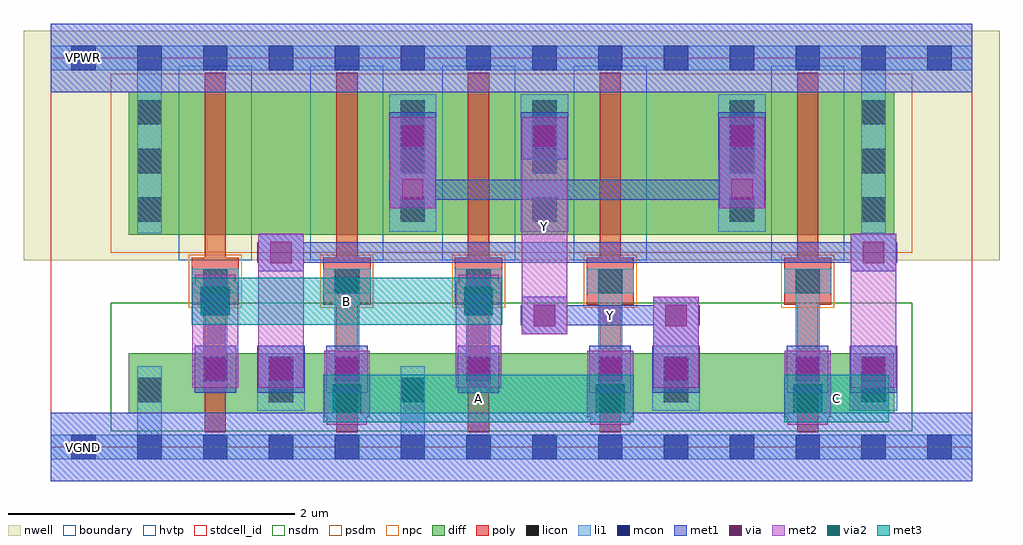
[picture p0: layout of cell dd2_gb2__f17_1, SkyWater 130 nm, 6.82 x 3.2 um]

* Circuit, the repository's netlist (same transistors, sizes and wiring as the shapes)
* Generated reference circuit; dimensions in micrometers.
.subckt dd2_gb2__f17_1 A B C VGND VNB VPB VPWR Y
XM0 Y A _net1 VNB sky130_fd_pr__nfet_01v8 w=0.420 l=0.150
XM1 _net1 B VGND VNB sky130_fd_pr__nfet_01v8 w=0.420 l=0.150
XM2 Y C _net2 VNB sky130_fd_pr__nfet_01v8 w=0.420 l=0.150
XM3 _net2 A VGND VNB sky130_fd_pr__nfet_01v8 w=0.420 l=0.150
XM4 _net2 B VGND VNB sky130_fd_pr__nfet_01v8 w=0.420 l=0.150
XM5 Y A _net3 VPB sky130_fd_pr__pfet_01v8_hvt w=1.000 l=0.150
XM6 Y B _net3 VPB sky130_fd_pr__pfet_01v8_hvt w=1.000 l=0.150
XM7 _net3 C VPWR VPB sky130_fd_pr__pfet_01v8_hvt w=1.000 l=0.150
XM8 _net3 A _net4 VPB sky130_fd_pr__pfet_01v8_hvt w=1.000 l=0.150
XM9 _net4 B VPWR VPB sky130_fd_pr__pfet_01v8_hvt w=1.000 l=0.150
.ends dd2_gb2__f17_1

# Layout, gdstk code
import gdstk
lib = gdstk.Library(unit=1e-6, precision=1e-09)
def R(c, l, rs):  # rectangles x0, y0, x1, y1
    for r in rs: c.add(gdstk.rectangle(r[:2], r[2:], *l))
def A(c, l, x, y, w, h, nx, ny, dx, dy):  # array of equal rectangles
    R(c, l, [(x+i*dx, y+j*dy, x+i*dx+w, y+j*dy+h) for i in range(nx) for j in range(ny)])
nwell = (64, 20)
diff = (65, 20)
poly = (66, 20)
licon = (66, 44)
li1 = (67, 20)
mcon = (67, 44)
met1 = (68, 20)
via = (68, 44)
met2 = (69, 20)
via2 = (69, 44)
met3 = (70, 20)
hvtp = (78, 44)
stdcell_id = (81, 4)
nsdm = (93, 44)
psdm = (94, 20)
npc = (95, 20)
boundary = (235, 4)

dd2_gb2__f17_1 = lib.new_cell('dd2_gb2__f17_1')
R(dd2_gb2__f17_1, nwell, [(-0.19,1.305,6.63,2.91)])
R(dd2_gb2__f17_1, diff, [(0.545,0.235,1.61,0.655), (1.61,0.235,2.53,0.655), (2.53,0.235,3.22,0.655), (3.22,0.235,4.37,0.655), (4.37,0.235,5.895,0.655), (0.545,1.485,1.61,2.485), (1.61,1.485,2.53,2.485), (2.53,1.485,3.45,2.485), (3.45,1.485,4.83,2.485), (4.83,1.485,5.895,2.485)])
A(dd2_gb2__f17_1, poly, 1.075, 0.105, 0.15, 1.22, 4, 1, 0.92, 0)
A(dd2_gb2__f17_1, poly, 0.985, 0.995, 0.33, 0.33, 4, 1, 0.92, 0)
A(dd2_gb2__f17_1, poly, 1.075, 0.995, 0.15, 1.62, 4, 1, 0.92, 0)
R(dd2_gb2__f17_1, poly, [(5.215,0.105,5.365,1.325), (5.125,0.995,5.455,1.325), (5.215,0.995,5.365,2.615)])
A(dd2_gb2__f17_1, licon, 0.605, 0.315, 0.17, 0.17, 3, 1, 0.92, 0)
A(dd2_gb2__f17_1, licon, 1.065, 1.075, 0.17, 0.17, 4, 1, 0.92, 0)
A(dd2_gb2__f17_1, licon, 0.605, 1.575, 0.17, 0.17, 1, 3, 0, 0.34)
A(dd2_gb2__f17_1, licon, 2.445, 1.575, 0.17, 0.17, 1, 3, 0, 0.34)
A(dd2_gb2__f17_1, licon, 3.365, 1.575, 0.17, 0.17, 1, 3, 0, 0.34)
A(dd2_gb2__f17_1, licon, 4.745, 1.575, 0.17, 0.17, 1, 3, 0, 0.34)
A(dd2_gb2__f17_1, licon, 5.665, 1.575, 0.17, 0.17, 1, 3, 0, 0.34)
R(dd2_gb2__f17_1, licon, [(4.285,0.315,4.455,0.485), (5.665,0.315,5.835,0.485), (5.205,1.075,5.375,1.245)])
A(dd2_gb2__f17_1, li1, 1.065, 0.38, 0.17, 0.33, 4, 1, 0.92, 0)
A(dd2_gb2__f17_1, li1, 1.065, 0.46, 0.17, 0.785, 4, 1, 0.92, 0)
A(dd2_gb2__f17_1, li1, 0.985, 1.075, 0.33, 0.17, 4, 1, 0.92, 0)
R(dd2_gb2__f17_1, li1, [(0,-0.085,6.44,0.085), (0.605,-0.085,0.775,0.565), (2.445,-0.085,2.615,0.565), (1.445,0.255,1.775,0.635), (4.205,0.255,4.535,0.635), (5.585,0.255,5.915,0.635), (1.445,0.38,1.775,0.71), (4.205,0.38,4.535,0.71), (5.205,0.38,5.375,0.71), (5.585,0.38,5.915,0.71), (5.205,0.46,5.375,1.245), (5.125,1.075,5.455,1.245), (0.605,1.495,0.775,2.805), (5.665,1.495,5.835,2.805), (2.365,1.505,2.695,2.465), (3.285,1.505,3.615,2.465), (4.665,1.505,4.995,2.465), (2.365,2.01,2.695,2.34), (3.285,2.01,3.615,2.34), (4.665,2.01,4.995,2.34), (0,2.635,6.44,2.805)])
A(dd2_gb2__f17_1, mcon, 0.145, -0.085, 0.17, 0.17, 14, 2, 0.46, 2.72)
A(dd2_gb2__f17_1, mcon, 1.065, 0.46, 0.17, 0.17, 3, 1, 0.46, 0)
R(dd2_gb2__f17_1, mcon, [(2.905,0.46,3.075,0.63), (3.825,0.46,3.995,0.63), (4.285,0.46,4.455,0.63), (5.205,0.46,5.375,0.63), (5.665,0.46,5.835,0.63), (2.445,2.09,2.615,2.26), (3.365,2.09,3.535,2.26), (4.745,2.09,4.915,2.26)])
A(dd2_gb2__f17_1, met1, 1.005, 0.38, 0.29, 0.33, 4, 1, 0.92, 0)
R(dd2_gb2__f17_1, met1, [(0,-0.24,6.44,0.24), (1.445,0.38,1.775,0.71), (4.205,0.38,4.535,0.71), (5.145,0.38,5.435,0.71), (5.585,0.38,5.915,0.71), (4.21,0.545,4.53,0.92), (3.29,0.79,3.61,1.05), (4.21,0.79,4.53,1.05), (3.285,0.85,4.535,0.99), (1.45,1.23,1.77,1.49), (5.59,1.23,5.91,1.49), (1.445,1.29,5.915,1.43), (2.37,1.67,2.69,1.93), (4.67,1.67,4.99,1.93), (2.365,1.73,4.995,1.87), (2.37,1.8,2.69,2.175), (4.67,1.8,4.99,2.175), (2.365,2.01,2.695,2.34), (3.285,2.01,3.615,2.34), (4.665,2.01,4.995,2.34), (0,2.48,6.44,2.96)])
A(dd2_gb2__f17_1, via, 1.075, 0.47, 0.15, 0.15, 3, 1, 0.46, 0)
R(dd2_gb2__f17_1, via, [(2.915,0.47,3.065,0.62), (3.835,0.47,3.985,0.62), (4.295,0.47,4.445,0.62), (5.215,0.47,5.365,0.62), (5.675,0.47,5.825,0.62), (3.375,0.845,3.525,0.995), (4.295,0.845,4.445,0.995), (1.535,1.285,1.685,1.435), (5.675,1.285,5.825,1.435), (2.455,1.725,2.605,1.875), (4.755,1.725,4.905,1.875), (2.455,2.1,2.605,2.25), (3.375,2.1,3.525,2.25), (4.755,2.1,4.905,2.25)])
R(dd2_gb2__f17_1, met2, [(1.93,0.155,2.21,0.525), (3.77,0.155,4.05,0.525), (5.15,0.155,5.43,0.525), (1.91,0.21,2.23,0.675), (3.75,0.21,4.07,0.675), (5.13,0.21,5.45,0.675), (0.99,0.415,1.31,1.15), (1.45,0.415,1.77,1.49), (2.83,0.415,3.15,1.15), (4.21,0.415,4.53,1.05), (5.59,0.415,5.91,1.49), (3.29,0.79,3.61,1.05), (3.29,0.79,3.61,2.305), (4.21,0.79,4.53,1.05), (1.01,0.835,1.29,1.205), (2.85,0.835,3.13,1.205), (1.45,1.23,1.77,1.49), (5.59,1.23,5.91,1.49), (2.37,1.67,2.69,1.93), (2.37,1.67,2.69,2.305), (4.67,1.67,4.99,1.93), (4.67,1.67,4.99,2.305)])
R(dd2_gb2__f17_1, via2, [(1.97,0.24,2.17,0.44), (3.81,0.24,4.01,0.44), (5.19,0.24,5.39,0.44), (1.05,0.92,1.25,1.12), (2.89,0.92,3.09,1.12)])
R(dd2_gb2__f17_1, met3, [(1.905,0.175,4.075,0.505), (1.905,0.175,2.235,0.505), (3.745,0.175,4.075,0.505), (5.125,0.175,5.855,0.505), (5.125,0.175,5.455,0.505), (0.985,0.855,3.155,1.185), (0.985,0.855,1.315,1.185), (2.825,0.855,3.155,1.185)])
A(dd2_gb2__f17_1, hvtp, 0.895, 1.305, 0.51, 1.36, 4, 1, 0.92, 0)
R(dd2_gb2__f17_1, hvtp, [(5.035,1.305,5.545,2.665)])
R(dd2_gb2__f17_1, stdcell_id, [(0,0,6.44,2.72)])
R(dd2_gb2__f17_1, nsdm, [(0.42,0.11,6.02,1.01)])
R(dd2_gb2__f17_1, psdm, [(0.42,1.36,6.02,2.61)])
A(dd2_gb2__f17_1, npc, 0.965, 0.975, 0.37, 0.37, 4, 1, 0.92, 0)
R(dd2_gb2__f17_1, npc, [(5.105,0.975,5.475,1.345)])
R(dd2_gb2__f17_1, boundary, [(0,0,6.44,2.72)])
dd2_gb2__f17_1.add(gdstk.Label('VGND', (0.23,0), layer=68, texttype=5))
dd2_gb2__f17_1.add(gdstk.Label('VPWR', (0.23,2.72), layer=68, texttype=5))
dd2_gb2__f17_1.add(gdstk.Label('Y', (3.91,0.92), layer=68, texttype=5))
dd2_gb2__f17_1.add(gdstk.Label('Y', (3.45,1.545), layer=69, texttype=5))
dd2_gb2__f17_1.add(gdstk.Label('VPB', (0.23,2.72), layer=64, texttype=5))
dd2_gb2__f17_1.add(gdstk.Label('VNB', (0.23,0), layer=64, texttype=59))
dd2_gb2__f17_1.add(gdstk.Label('A', (2.99,0.34), layer=70, texttype=5))
dd2_gb2__f17_1.add(gdstk.Label('B', (2.07,1.02), layer=70, texttype=5))
dd2_gb2__f17_1.add(gdstk.Label('C', (5.49,0.34), layer=70, texttype=5))

lib.write_gds('dd2_gb2__f17_1.gds')
